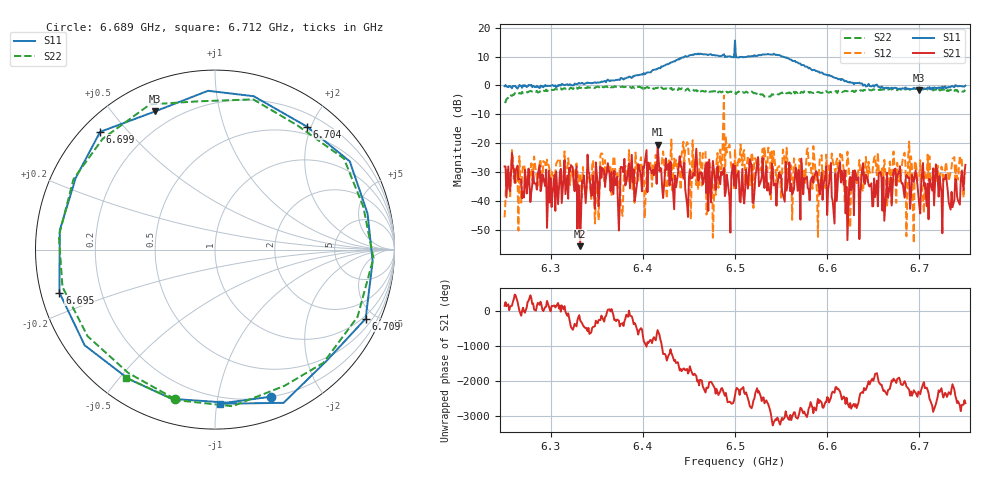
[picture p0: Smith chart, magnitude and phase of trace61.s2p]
# Hz S RI R 50
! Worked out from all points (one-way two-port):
!   401 points, 6.25 GHz to 6.75 GHz, reference 50 ohm
!   highest |S21| = -20.40 dB at 6.416 GHz (marker M1); lowest = -55.5 dB at 6.332 GHz (marker M2)
!   lowest |S11| = -1.5 dB at 6.7 GHz (marker M3), VSWR 11.43, Z = 6.24 + j32.5 ohm
!   |S11| at or under -10 dB: nowhere
!   |S22| runs from -5.8 to -0.2 dB; largest |S21 - S12| = 0.71
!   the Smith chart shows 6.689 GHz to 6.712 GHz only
!   S11 on the Smith chart (normalised r, x): 6.689 GHz: 0.20, -1.43; 6.695 GHz: 0.05, -0.13; 6.699 GHz: 0.05, +0.42; 6.704 GHz: 0.38, +1.94; 6.709 GHz: 0.85, -4.43; 6.712 GHz: 0.16, -1.02
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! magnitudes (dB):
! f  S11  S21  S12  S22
! 6.25 GHz  -0.2  -27.9  -45.5  -5.6
! 6.26 GHz  -0.2  -28.6  -32.3  -3.2
! 6.332 GHz  0.6  -55.5  -30.2  -0.9
! 6.334 GHz  0.9  -32.9  -38.8  -0.8
! 6.35 GHz  0.9  -30.6  -36.5  -0.5
! 6.356 GHz  1.3  -28.5  -23.5  -0.5
! 6.416 GHz  5.8  -20.4  -26.1  -0.8
! 6.418 GHz  6.1  -29.6  -27.4  -0.7
! 6.446 GHz  10.1  -35.9  -22.1  -1.8
! 6.476 GHz  10.5  -26.0  -52.6  -2.0
! 6.49 GHz  10.0  -36.8  -17.5  -2.3
! 6.5 GHz  15.5  -27.8  -21.9  -2.3
! 6.584 GHz  5.3  -31.5  -35.7  -2.5
! 6.668 GHz  -1.1  -34.9  -26.3  -1.3
! 6.689 GHz  -1.1  -31.9  -19.4  -1.3
! 6.695 GHz  -0.9  -31.2  -27.1  -1.1
! 6.699 GHz  -0.8  -37.9  -32.6  -1.6
! 6.7 GHz  -1.5  -41.6  -32.3  -1.3
! 6.704 GHz  -1.4  -26.8  -38.7  -1.3
! 6.709 GHz  -0.7  -33.9  -23.9  -1.4
! 6.712 GHz  -1.3  -33.9  -31.2  -1.2
! 6.75 GHz  0.0  -27.4  -30.2  -2.0
